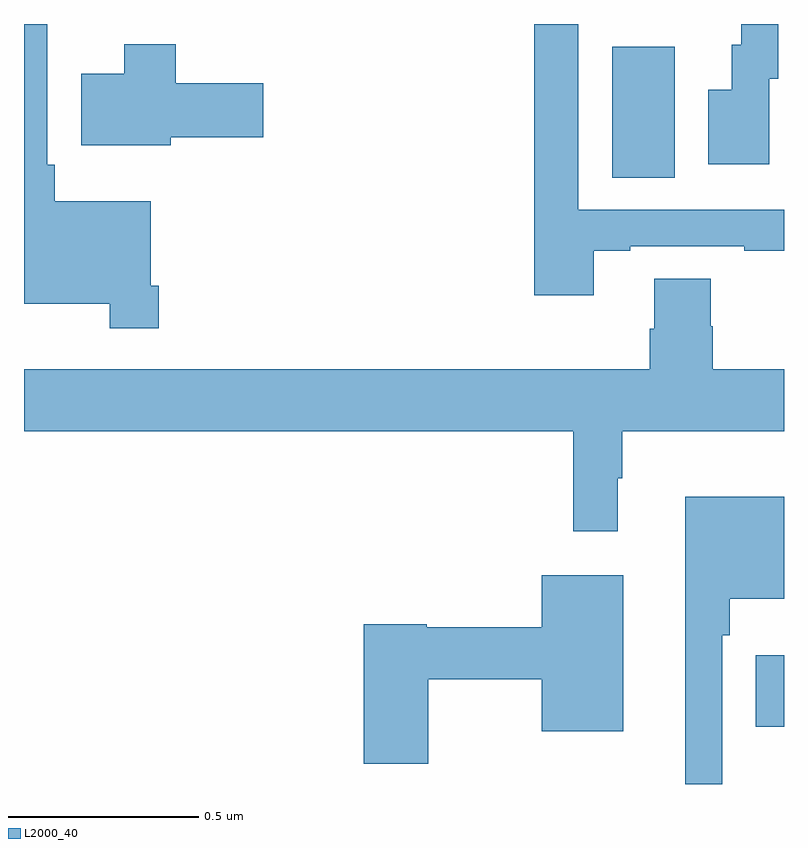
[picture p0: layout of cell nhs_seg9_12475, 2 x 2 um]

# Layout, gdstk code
import gdstk
lib = gdstk.Library(unit=1e-6, precision=1e-09)
def R(c, l, rs):  # rectangles x0, y0, x1, y1
    for r in rs: c.add(gdstk.rectangle(r[:2], r[2:], *l))
def P(c, l, *ps):  # polygons
    for p in ps: c.add(gdstk.Polygon(p, *l))
L2000_40 = (2000, 40)

nhs_seg9_12475 = lib.new_cell('nhs_seg9_12475')
R(nhs_seg9_12475, L2000_40, [(270.926,1187.651,271,1187.839), (270.548,1189.096,270.712,1189.44)])
P(nhs_seg9_12475, L2000_40, [(270.961,1189.356),(270.985,1189.356),(270.985,1189.5),(270.888,1189.5),(270.888,1189.446),(270.863,1189.446),(270.863,1189.327),(270.8,1189.327),(270.8,1189.131),(270.961,1189.131)],
  [(269.354,1188.811),(269.334,1188.811),(269.334,1189.033),(269.081,1189.033),(269.081,1189.129),(269.061,1189.129),(269.061,1189.5),(269,1189.5),(269,1188.764),(269.226,1188.764),(269.226,1188.699),(269.354,1188.699)],
  [(270.499,1188.903),(270.595,1188.903),(270.595,1188.915),(270.895,1188.915),(270.895,1188.903),(271,1188.903),(271,1189.011),(270.459,1189.011),(270.459,1189.5),(270.343,1189.5),(270.343,1188.786),(270.499,1188.786)],
  [(269.386,1189.202),(269.629,1189.202),(269.629,1189.344),(269.399,1189.344),(269.399,1189.447),(269.264,1189.447),(269.264,1189.369),(269.15,1189.369),(269.15,1189.181),(269.386,1189.181)],
  [(270.562,1188.305),(270.574,1188.305),(270.574,1188.428),(271,1188.428),(271,1188.592),(270.812,1188.592),(270.812,1188.705),(270.807,1188.705),(270.807,1188.83),(270.659,1188.83),(270.659,1188.698),(270.647,1188.698),(270.647,1188.592),(269,1188.592),(269,1188.428),(270.445,1188.428),(270.445,1188.165),(270.562,1188.165)],
  [(270.837,1187.891),(270.857,1187.891),(270.857,1187.987),(271,1187.987),(271,1188.256),(270.74,1188.256),(270.74,1187.5),(270.837,1187.5)],
  [(270.064,1187.776),(270.362,1187.776),(270.362,1187.639),(270.577,1187.639),(270.577,1188.049),(270.362,1188.049),(270.362,1187.912),(270.06,1187.912),(270.06,1187.92),(269.894,1187.92),(269.894,1187.553),(270.064,1187.553)])

lib.write_gds('nhs_seg9_12475.gds')
